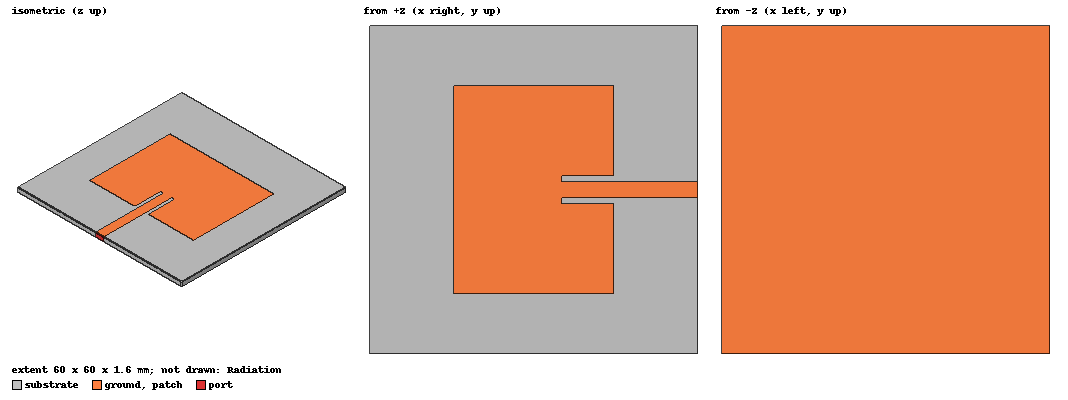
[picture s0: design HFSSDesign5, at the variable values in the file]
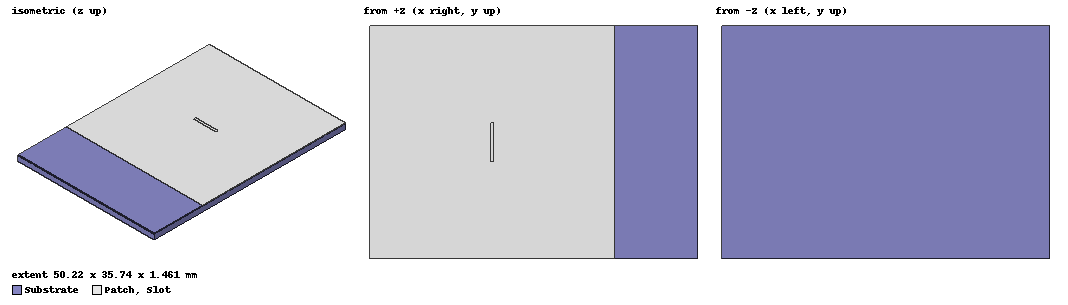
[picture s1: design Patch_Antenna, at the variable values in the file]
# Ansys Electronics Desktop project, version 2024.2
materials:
  vacuum: permittivity=1
  FR4_epoxy: permittivity=4.4 dielectric_loss_tangent=0.02
  air: permittivity=1.0006 permeability=1.0000004
  copper: permeability=0.999991 conductivity=58000000

design HFSSDesign5 (HFSS, HFSS Terminal Network, model units mm)
options: Calculate_Lossy_Dielectrics
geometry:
  ground = rectangle(corner=(-30mm, -30mm, 0mm), x_size=60mm, y_size=60mm)
  substrate [FR4_epoxy] = box(corner=(-30mm, -30mm, 0mm), size=(60mm, 60mm, 1.6mm))
  patch = rectangle(corner=((-29.4/2) mm, (-38/2) mm, 1.6mm), x_size=29.4mm, y_size=38mm)
  feed = rectangle(corner=(0mm, -1.5mm, 1.6mm), x_size=30mm, y_size=3mm)
  cut = rectangle(corner=(14.7mm, -2.5mm, 1.6mm), x_size=-9.5mm, y_size=5mm)
  patch.subtract(cut)
  patch.unite(feed)
  port = rectangle(corner=(30mm, -1.5mm, 1.6mm), y_size=3mm, z_size=-1.6mm)
  Radiation [air] = box(corner=(-40mm, -40mm, -20mm), size=(80mm, 80mm, 40mm))
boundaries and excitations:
  PerfE1: Perfect E Objects=[ground, patch]
  Rad1: Radiation Objects=Radiation
  1: Lumped Port Objects=port LumpedPortType=Modal Modes{Mode1{IntLine{(30, 0, 0) -> (30, 0, 1.6)} CharImp=Zpi RenormImp=50ohm}} Impedance=50ohm
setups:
  Setup1: HfssDrivenAuto AutoSolverSetting=Balanced Type=Discrete
    sweep Sweep: 2GHz to 10GHz, 501 points;
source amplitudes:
  1:1: 1V 0deg
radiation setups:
  Infinite Sphere1: Infinite Sphere Theta=0deg..180deg step 2deg Phi=-180deg..180deg step 2deg
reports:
  Terminal S Parameter Plot 1: dB(St(1,1)) vs Freq on Setup1 : Sweep
  VSWR Plot 1: dB(VSWR(1)) vs Freq on Setup1 : Sweep

design Patch_Antenna (HFSS, HFSS Terminal Network, model units mm)
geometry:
  Substrate [FR4_epoxy] = box(corner=(0mm, 0mm, 0mm), size=(50.21732452mm, 35.7433mm, 1.46025mm))
  Patch [copper] = rectangle(corner=(0mm, 0mm, 1.46025mm), x_size=37.48759426mm, y_size=35.7433mm)
  Slot = rectangle(corner=(18.452642mm, 14.87067518mm, 1.46025mm), x_size=0.58230957mm, y_size=6.00194964mm)
  Slot_1 = Slot.copy()
  Patch.subtract(Slot_1)
  GroundPlane [copper] = box(corner=(0mm, 0mm, -0.001mm), size=(0.01mm, 0.01mm, 0.001mm))
  GroundPlane_1 [copper] = box(corner=(0mm, 0mm, -0.001mm), size=(0.01mm, 0.01mm, 0.001mm))
